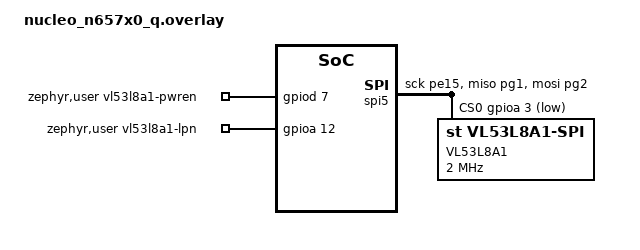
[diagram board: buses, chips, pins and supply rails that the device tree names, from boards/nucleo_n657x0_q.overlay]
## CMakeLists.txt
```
cmake_minimum_required(VERSION 3.20.0)
find_package(Zephyr REQUIRED HINTS $ENV{ZEPHYR_BASE})

project(53l8a1_ranging_spi)

# ── Application source ──────────────────────────────────────────────────────
target_sources(app PRIVATE src/main.c)

# ── VL53L8CX sensor library (portable, no HAL) ──────────────────────────────
set(VL53L8CX_DIR ${CMAKE_CURRENT_SOURCE_DIR}/lib/vl53l8cx)

target_sources(app PRIVATE
    ${VL53L8CX_DIR}/porting/platform.c
    ${VL53L8CX_DIR}/modules/vl53l8cx_api.c
    ${VL53L8CX_DIR}/modules/vl53l8cx_plugin_detection_thresholds.c
    ${VL53L8CX_DIR}/modules/vl53l8cx_plugin_motion_indicator.c
    ${VL53L8CX_DIR}/modules/vl53l8cx_plugin_xtalk.c
)

target_include_directories(app PRIVATE
    ${VL53L8CX_DIR}/porting
    ${VL53L8CX_DIR}/modules
)
```

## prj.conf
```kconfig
# Application config
CONFIG_MAIN_STACK_SIZE=4096

# SPI
CONFIG_SPI=y

# GPIO (for PWR_EN and LPn control)
CONFIG_GPIO=y

# Console / UART
CONFIG_SERIAL=y
CONFIG_CONSOLE=y
CONFIG_UART_CONSOLE=y

# Note: the I2C variant needed CONFIG_HEAP_MEM_POOL_SIZE because its WrMulti()
# had to k_malloc() a contiguous [register-address + payload] buffer (up to
# ~32 KB for firmware blocks) before each i2c_write(). The SPI platform layer
# instead uses scatter/gather spi_buf_set entries (address, then payload, in
# one NCS-low transceive), so no heap is needed — see platform.c.
```

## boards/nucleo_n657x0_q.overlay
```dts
/* nucleo_n657x0_q overlay for VL53L8A1 ranging shield — SPI variant
 *
 * *** HARDWARE CHANGE REQUIRED — READ BEFORE FLASHING ***
 *
 * The X-NUCLEO-53L8A1's combined SPI/I2C lines (MCLK_SCL / MOSI_SDA — see the
 * board schematic, where these are literally the same wires as I2C SCL/SDA,
 * switched by the sensor's SPI_I2C_N pin) run through the Arduino connector
 * to D15/D14, which land on STM32N6 pins PH9/PC1. Those two pins have NO SPI
 * alternate function on the STM32N657 (only I2C1/I3C1/UART/etc — checked
 * against stm32n657x0hxq-pinctrl.dtsi), so the sensor cannot be driven over
 * hardware SPI through the shield's Arduino header as wired.
 *
 * This overlay instead targets the board's native Arduino SPI bus
 * (arduino_spi = spi5, pinctrl already wired to D10..D13):
 *
 *   Sensor signal   STM32N6 pin   Arduino pin   spi5 function
 *   -------------   -----------   -----------   -------------
 *   MCLK_SCL (SCK)  PE15          D13           spi5_sck_pe15
 *   MOSI_SDA (MOSI) PG2           D11           spi5_mosi_pg2
 *   MISO            PG1           D12           spi5_miso_pg1
 *   NCS             PA3           D10           GPIO output (software CS, NOT spi5_nss_pa3)
 *
 * ==> Bypass the shield's Arduino-header SPI lines and run jumper wires
 *     directly from the X-NUCLEO-53L8A1 satellite connector (or sensor
 *     breakout) signals MCLK_SCL/MOSI_SDA/MISO/NCS to Nucleo pins
 *     PE15/PG2/PG1/PA3 respectively.
 * ==> Move the board's SPI_I2C_N jumper (J9, "one jumper for all devices")
 *     to its SPI position — sensor pin SPI_I2C_N must be driven HIGH for
 *     SPI mode (LOW = I2C mode). This is a physical board jumper, not
 *     something firmware can toggle.
 *
 * PWR_EN was originally on PG2 (Arduino D11 / spi5_mosi_pg2) — that pin is
 * now needed for MOSI, so PWR_EN is relocated here to PD7 (Arduino D9, free
 * on this bus). Run a jumper wire from the shield's PWR_EN pin to PD7.
 *
 * LPn keeps its original assignment: PA12 (Arduino A3) — no conflict with spi5.
 *
 * NSS/CS pin note (critical):
 * The st,stm32h7-spi driver disables the SPI peripheral (SPE=0) between
 * scatter/gather buffer segments when in hardware-NSS-output mode. On STM32H7
 * (and STM32N6 with the same SPI IP), SPE=0 releases hardware NSS → it goes
 * HIGH between the 2-byte address segment and the data segment. The sensor
 * sees two separate transactions and cannot reassemble them; all reads return
 * 0x00 and all writes are silently discarded.
 *
 * Fix: use software CS (cs-gpios on the controller). The Zephyr STM32 SPI
 * driver (spi_stm32.c, ~line 1458) switches hardware NSS to soft mode
 * (SSM=1) automatically when cs-gpios is present — the SPI peripheral no
 * longer drives PA3. Software CS is asserted once per spi_transceive_dt()
 * call via spi_context_cs_control(), keeping NCS low across both segments.
 *
 * PA3 must therefore NOT be configured as spi5_nss_pa3 AF — it is a plain
 * GPIO output. We override pinctrl-0 here to drop that AF pin.
 */

&spi5 {
	status = "okay";
	/* Drop spi5_nss_pa3: PA3 is a plain GPIO for software CS, not SPI AF. */
	pinctrl-0 = <&spi5_sck_pe15 &spi5_miso_pg1 &spi5_mosi_pg2>;
	pinctrl-names = "default";
	/* PA3 (Arduino D10) as software chip-select (active-low). */
	cs-gpios = <&gpioa 3 GPIO_ACTIVE_LOW>;

	vl53l8a1: vl53l8a1@0 {
		/* "spi-device" is not a real, matchable compatible in mainline
		 * Zephyr (spi-device.yaml is a fields-only fragment meant to be
		 * included by a vendor binding — unlike i2c-device.yaml, which
		 * the I2C variant uses and which IS directly matchable). This
		 * project ships its own minimal binding that just includes
		 * spi-device.yaml — see dts/bindings/sensor/st,vl53l8a1-spi.yaml
		 * (auto-discovered: DTS_ROOT always includes the app directory).
		 */
		compatible = "st,vl53l8a1-spi";
		reg = <0>;
		/* Placeholder — raise once the link is validated with a logic analyzer. */
		spi-max-frequency = <2000000>;
		/* SPI mode 0 (CPOL=0, CPHA=0) assumed: neither spi-cpol nor
		 * spi-cpha is set below. Verify against the VL53L8CX SPI protocol. */
		label = "VL53L8A1";
	};
};

/* i2c1 is left at its default (disabled on this board) — this variant is SPI-only. */

/ {
	zephyr,user {
		vl53l8a1-pwren-gpios = <&gpiod 7  GPIO_ACTIVE_HIGH>;
		vl53l8a1-lpn-gpios   = <&gpioa 12 GPIO_ACTIVE_HIGH>;
	};
};
```

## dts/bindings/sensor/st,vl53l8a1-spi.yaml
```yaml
description: ST VL53L8CX / VL53L8A1 Time-of-Flight ranging sensor (SPI interface)

compatible: "st,vl53l8a1-spi"

include: spi-device.yaml
```

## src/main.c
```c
/*
 * VL53L8A1 Simple Ranging — Zephyr SPI port for nucleo_n657x0_q
 *
 * Ported from STM32CubeMX X-CUBE-TOF1 example, then re-ported from this
 * project's own I2C variant (../53l8a1_ranging) onto SPI.
 * HAL calls replaced with Zephyr APIs:
 *   - SPI       : zephyr/drivers/spi.h
 *   - GPIO      : zephyr/drivers/gpio.h
 *   - Delay     : k_msleep()
 *   - Print     : printk()
 *
 * *** Requires the hardware change described in boards/nucleo_n657x0_q.overlay
 *     — the sensor's SPI lines must be jumper-wired directly to the spi5
 *     pins, and the shield's SPI_I2C_N jumper (J9) moved to SPI. ***
 */

#include <zephyr/kernel.h>
#include <zephyr/drivers/spi.h>
#include <zephyr/drivers/gpio.h>

#include "vl53l8cx_api.h"

/* --------------------------------------------------------------------------
 * Board wiring (X-NUCLEO-53L8A1 sensor, direct-wired to nucleo_n657x0_q):
 *   PWR_EN   -> PD7  (Arduino D9  — relocated, see overlay comment)
 *   LPn      -> PA12 (Arduino A3)
 *   SPI      -> spi5 / arduino_spi: SCK=PE15(D13) MOSI=PG2(D11)
 *               MISO=PG1(D12) NCS=PA3(D10, hardware NSS)
 * -------------------------------------------------------------------------- */
#define VL53L8A1_SPI_NODE   DT_NODELABEL(vl53l8a1)

/* SPI word size/bit order are fixed here; mode (CPOL/CPHA) and max frequency
 * come from the devicetree node (spi-cpol/spi-cpha/spi-max-frequency) — see
 * the overlay and lib/vl53l8cx/porting/platform.c for the assumptions behind
 * these settings and what to check if the sensor doesn't respond. */
static const struct spi_dt_spec vl53l8a1_spi = SPI_DT_SPEC_GET(
    VL53L8A1_SPI_NODE,
    SPI_OP_MODE_MASTER | SPI_WORD_SET(8) | SPI_TRANSFER_MSB,
    0);

/* --------------------------------------------------------------------------
 * Ranging configuration
 * -------------------------------------------------------------------------- */
#define TIMING_BUDGET       30U                    /* ms  — must be 5..100 ms */
#define RANGING_FREQUENCY   10U                    /* Hz  — must be consistent with budget */
#define RANGING_RESOLUTION  VL53L8CX_RESOLUTION_8X8
#define ZONES_PER_LINE      8U

/* --------------------------------------------------------------------------
 * Helpers
 * -------------------------------------------------------------------------- */
static void print_result(VL53L8CX_ResultsData *results, uint8_t zones_per_line)
{
    printk("\033[2J\033[H");   /* clear terminal */
    printk("VL53L8A1 — distance results (%dx%d)\n\n",
           zones_per_line, zones_per_line);

    for (int row = 0; row < zones_per_line; row++) {
        for (int col = zones_per_line - 1; col >= 0; col--) {
            int zone = row * zones_per_line + col;
            if (results->nb_target_detected[zone] > 0) {
                printk("| %4d mm ", results->distance_mm[zone * VL53L8CX_NB_TARGET_PER_ZONE]);
            } else {
                printk("|    ---- ");
            }
        }
        printk("|\n");
    }
    printk("\n");
}

/* --------------------------------------------------------------------------
 * Main
 * -------------------------------------------------------------------------- */
int main(void)
{
    /* --- Check SPI bus + device are ready --- */
    if (!spi_is_ready_dt(&vl53l8a1_spi)) {
        printk("ERROR: SPI device not ready\n");
        return -1;
    }

    /* --- Optional GPIO control (PWR_EN, LPn) --- */
#if DT_NODE_HAS_PROP(DT_PATH(zephyr_user), vl53l8a1_pwren_gpios)
    const struct gpio_dt_spec pwr_en =
        GPIO_DT_SPEC_GET(DT_PATH(zephyr_user), vl53l8a1_pwren_gpios);
    if (!device_is_ready(pwr_en.port)) 
    {
        printk("WARN: PWR_EN GPIO port not ready\n");
    } 
    else 
    {
        gpio_pin_configure_dt(&pwr_en, GPIO_OUTPUT_INACTIVE);
        k_msleep(10);
        gpio_pin_set_dt(&pwr_en, 1);
        k_msleep(10);
        printk("PWR_EN asserted (port=%s pin=%d)\n", pwr_en.port->name, pwr_en.pin);
    }
#else
    printk("WARN: PWR_EN not defined in DTS\n");
#endif

#if DT_NODE_HAS_PROP(DT_PATH(zephyr_user), vl53l8a1_lpn_gpios)
    const struct gpio_dt_spec lpn =
        GPIO_DT_SPEC_GET(DT_PATH(zephyr_user), vl53l8a1_lpn_gpios);
    if (!device_is_ready(lpn.port)) 
    {
        printk("WARN: LPn GPIO port not ready\n");
    } 
    else {
        gpio_pin_configure_dt(&lpn, GPIO_OUTPUT_INACTIVE);
        k_msleep(2);
        gpio_pin_set_dt(&lpn, 1);
        k_msleep(10);
        printk("LPn asserted (port=%s pin=%d)\n", lpn.port->name, lpn.pin);
    }
#else
    printk("WARN: LPn not defined in DTS\n");
#endif

    /* --- Initialise platform struct --- */
    static VL53L8CX_Configuration sensor;
    memset(&sensor, 0, sizeof(sensor));
    sensor.platform.spi = &vl53l8a1_spi;

    /* --- Hardware reset: cycle LPn to ensure sensor starts from clean state --- */
#if DT_NODE_HAS_PROP(DT_PATH(zephyr_user), vl53l8a1_lpn_gpios)
    gpio_pin_set_dt(&lpn, 0);   /* LPn LOW  → sensor enters low-power/reset */
    k_msleep(10);
    gpio_pin_set_dt(&lpn, 1);   /* LPn HIGH → sensor boots from ROM */
    k_msleep(100);              /* allow full cold boot before any SPI access */
    printk("LPn cycled — sensor cold boot\n");
#endif

    /* --- SPI link diagnostics ---
     * (a) Print CS GPIO info to confirm software CS is configured.
     * (b) Write-verify: write 0xBE to 0x7FFF (page-select / safe scratchpad),
     *     immediately read it back.  If the SPI round-trip works the read
     *     must return 0xBE regardless of what the register means; if we get
     *     0x00 the link is broken at the hardware level.
     * (c) Read reg 0x0006 — boot-status register, expected 0x00 at cold boot. */
    {
        const struct spi_cs_control *cs = &vl53l8a1_spi.config.cs;
        if (cs->gpio.port) {
            printk("SPI CS GPIO: port=%s pin=%d active=%s\n",
                   cs->gpio.port->name, cs->gpio.pin,
                   (cs->gpio.dt_flags & GPIO_ACTIVE_LOW) ? "low" : "high");
        } else {
            printk("SPI CS GPIO: NOT configured (hardware NSS)\n");
        }
    }
    {
        uint8_t rd = 0xFF;
        VL53L8CX_WrByte(&sensor.platform, 0x7FFF, 0xBE);
        VL53L8CX_RdMulti(&sensor.platform, 0x7FFF, &rd, 1);
        printk("WR-verify 0x7FFF: wrote=0xBE read=0x%02x (%s)\n",
               rd, (rd == 0xBE) ? "MATCH-link OK" : "MISMATCH-link broken");
    }
    {
        uint8_t buf[4] = {0};
        VL53L8CX_RdMulti(&sensor.platform, 0x0000, buf, 4);
        printk("rd[0x0000..3]: %02x %02x %02x %02x\n",
               buf[0], buf[1], buf[2], buf[3]);
    }
    {
        uint8_t reg_val = 0xFF;
        VL53L8CX_RdMulti(&sensor.platform, 0x0006, &reg_val, 1);
        printk("Pre-init reg 0x0006 = 0x%02x\n", reg_val);
    }

    /* --- Init sensor --- */
    int64_t t0 = k_uptime_get();
    printk("VL53L8A1 Simple Ranging — initialising...\n");
    uint8_t status = vl53l8cx_init(&sensor);
    printk("vl53l8cx_init took %lld ms\n", k_uptime_get() - t0);
    if (status != VL53L8CX_STATUS_OK) 
    {
        printk("ERROR: vl53l8cx_init failed (status=%d)\n", status);
        return -1;
    }
    printk("Sensor init OK\n");

    /* --- Configure profile: 8x8 continuous --- */
    vl53l8cx_set_resolution(&sensor, RANGING_RESOLUTION);
    vl53l8cx_set_ranging_mode(&sensor, VL53L8CX_RANGING_MODE_CONTINUOUS);
    vl53l8cx_set_ranging_frequency_hz(&sensor, RANGING_FREQUENCY);
    vl53l8cx_set_integration_time_ms(&sensor, TIMING_BUDGET);

    /* --- Start ranging --- */
    status = vl53l8cx_start_ranging(&sensor);
    if (status != VL53L8CX_STATUS_OK) 
    {
        printk("ERROR: vl53l8cx_start_ranging failed (status=%d)\n", status);
        return -1;
    }
    printk("Ranging started — polling every 100 ms\n");

    static VL53L8CX_ResultsData results;
    uint8_t data_ready;

    while (1) 
    {
        vl53l8cx_check_data_ready(&sensor, &data_ready);
        if (data_ready) 
        {
            vl53l8cx_get_ranging_data(&sensor, &results);
            print_result(&results, ZONES_PER_LINE);
        }
        k_msleep(100);
    }

    return 0;
}
```
